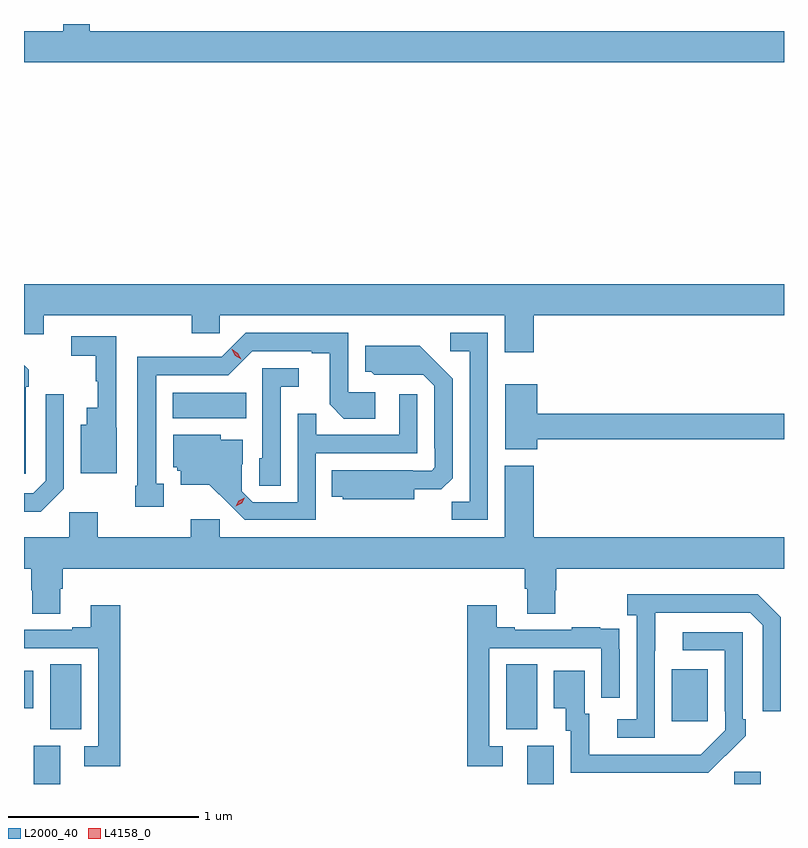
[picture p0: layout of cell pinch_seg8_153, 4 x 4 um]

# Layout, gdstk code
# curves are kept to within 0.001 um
import gdstk
lib = gdstk.Library(unit=1e-6, precision=1e-09)
def R(c, l, rs):  # rectangles x0, y0, x1, y1
    for r in rs: c.add(gdstk.rectangle(r[:2], r[2:], *l))
def P(c, l, *ps):  # polygons
    for p in ps: c.add(gdstk.Polygon(p, *l))
L2000_40 = (2000, 40)
L4158_0 = (4158, 0)

pinch_seg8_153 = lib.new_cell('pinch_seg8_153')
R(pinch_seg8_153, L2000_40, [(708.731,1147.334,708.871,1147.536), (711.329,1147.334,711.469,1147.536), (712.419,1147.334,712.558,1147.398), (708.818,1147.621,708.982,1147.964), (711.218,1147.621,711.382,1147.964), (712.091,1147.665,712.279,1147.939), (708.681,1147.733,708.73,1147.93), (709.463,1149.26,709.85,1149.394)])
P(pinch_seg8_153, L2000_40, [(712.681,1151.296),(709.027,1151.296),(709.027,1151.334),(708.887,1151.334),(708.887,1151.296),(708.681,1151.296),(708.681,1151.132),(712.681,1151.132)],
  [(711.365,1149.8),(712.681,1149.8),(712.681,1149.964),(708.681,1149.964),(708.681,1149.702),(708.784,1149.702),(708.784,1149.8),(709.564,1149.8),(709.564,1149.707),(709.71,1149.707),(709.71,1149.8),(711.212,1149.8),(711.212,1149.606),(711.365,1149.606)],
  [(709.417,1148.913),(709.378,1148.913),(709.378,1149.486),(709.755,1149.486),(709.881,1149.612),(710.195,1149.612),(710.195,1149.6),(710.289,1149.6),(710.289,1149.332),(710.365,1149.256),(710.53,1149.256),(710.53,1149.396),(710.388,1149.396),(710.388,1149.708),(709.848,1149.708),(709.722,1149.582),(709.5,1149.582),(709.5,1149.584),(709.277,1149.584),(709.277,1148.905),(709.267,1148.905),(709.267,1148.793),(709.417,1148.793)],
  [(711.123,1149.708),(710.925,1149.708),(710.925,1149.612),(711.027,1149.612),(711.027,1148.819),(710.932,1148.819),(710.932,1148.724),(711.123,1148.724)],
  [(709.168,1149.209),(709.167,1149.209),(709.167,1149.69),(708.93,1149.69),(708.93,1149.589),(709.059,1149.589),(709.059,1149.453),(709.07,1149.453),(709.07,1149.313),(709.01,1149.313),(709.01,1149.226),(708.98,1149.226),(708.98,1148.969),(709.168,1148.969)],
  [(710.734,1148.885),(710.878,1148.885),(710.937,1148.944),(710.937,1149.466),(710.765,1149.64),(710.477,1149.64),(710.477,1149.504),(710.508,1149.504),(710.524,1149.488),(710.781,1149.489),(710.841,1149.429),(710.841,1149.1),(710.844,1149.1),(710.844,1149),(710.826,1148.982),(710.726,1148.982),(710.726,1148.986),(710.302,1148.986),(710.302,1148.846),(710.358,1148.846),(710.358,1148.834),(710.734,1148.834)],
  [(708.69,1149.425),(708.705,1149.425),(708.705,1149.513),(708.681,1149.537),(708.681,1148.967),(708.69,1148.967)],
  [(710.031,1149.425),(710.128,1149.425),(710.128,1149.522),(709.935,1149.522),(709.935,1149.048),(709.92,1149.048),(709.92,1148.905),(710.031,1148.905)],
  [(711.382,1149.148),(712.681,1149.148),(712.681,1149.284),(711.382,1149.284),(711.382,1149.439),(711.215,1149.439),(711.215,1149.095),(711.382,1149.095)],
  [(708.891,1148.889),(708.891,1149.385),(708.795,1149.385),(708.795,1148.931),(708.729,1148.865),(708.681,1148.865),(708.681,1148.768),(708.77,1148.768)],
  [(710.217,1149.075),(710.751,1149.075),(710.751,1149.385),(710.655,1149.385),(710.655,1149.171),(710.219,1149.171),(710.219,1149.284),(710.121,1149.284),(710.121,1148.817),(709.884,1148.817),(709.827,1148.874),(709.827,1149.016),(709.831,1149.016),(709.831,1149.145),(709.716,1149.145),(709.716,1149.172),(709.466,1149.172),(709.466,1149),(709.488,1149),(709.488,1148.982),(709.505,1148.982),(709.505,1148.909),(709.657,1148.909),(709.844,1148.724),(710.217,1148.724)],
  [(708.681,1148.468),(708.719,1148.468),(708.719,1148.355),(708.724,1148.355),(708.724,1148.23),(708.871,1148.23),(708.871,1148.362),(708.884,1148.362),(708.884,1148.468),(711.317,1148.468),(711.317,1148.362),(711.329,1148.362),(711.329,1148.23),(711.477,1148.23),(711.477,1148.355),(711.482,1148.355),(711.482,1148.468),(712.681,1148.468),(712.681,1148.632),(711.365,1148.632),(711.365,1149.01),(711.212,1149.01),(711.212,1148.632),(709.71,1148.632),(709.71,1148.728),(709.559,1148.728),(709.559,1148.632),(709.07,1148.632),(709.07,1148.764),(708.918,1148.764),(708.918,1148.632),(708.681,1148.632)],
  [(712.002,1148.035),(712.003,1148.235),(712.503,1148.235),(712.569,1148.169),(712.569,1147.716),(712.665,1147.716),(712.665,1148.211),(712.544,1148.332),(711.855,1148.332),(711.855,1148.222),(711.906,1148.222),(711.906,1147.674),(711.804,1147.674),(711.804,1147.578),(712.002,1147.578)],
  [(711.202,1147.533),(711.129,1147.533),(711.129,1148.049),(711.72,1148.049),(711.72,1147.788),(711.816,1147.788),(711.816,1148.042),(711.815,1148.042),(711.815,1148.151),(711.713,1148.151),(711.713,1148.158),(711.565,1148.158),(711.565,1148.145),(711.265,1148.145),(711.265,1148.158),(711.169,1148.158),(711.169,1148.275),(711.013,1148.275),(711.013,1147.428),(711.202,1147.428)],
  [(709.187,1148.275),(709.031,1148.275),(709.031,1148.158),(708.935,1148.158),(708.935,1148.145),(708.681,1148.145),(708.681,1148.049),(709.071,1148.049),(709.071,1147.533),(708.999,1147.533),(708.999,1147.428),(709.187,1147.428)],
  [(712.373,1147.483),(712.374,1147.482),(712.479,1147.587),(712.479,1147.675),(712.464,1147.675),(712.464,1148.133),(712.149,1148.133),(712.149,1148.037),(712.368,1148.037),(712.368,1147.717),(712.371,1147.717),(712.371,1147.617),(712.243,1147.489),(711.655,1147.488),(711.655,1147.704),(711.631,1147.704),(711.631,1147.93),(711.47,1147.93),(711.47,1147.733),(711.533,1147.733),(711.533,1147.614),(711.558,1147.614),(711.558,1147.392),(712.282,1147.392)])
P(pinch_seg8_153, L4158_0, [(709.795,1148.797),(709.795,1148.797),(709.812,1148.826),(709.843,1148.841),(709.844,1148.841),(709.844,1148.841),(709.826,1148.811),(709.795,1148.797)],
  [(709.824,1149.569),(709.793,1149.588),(709.775,1149.621),(709.775,1149.621),(709.776,1149.621),(709.807,1149.602),(709.825,1149.569),(709.825,1149.569)])

lib.write_gds('pinch_seg8_153.gds')
